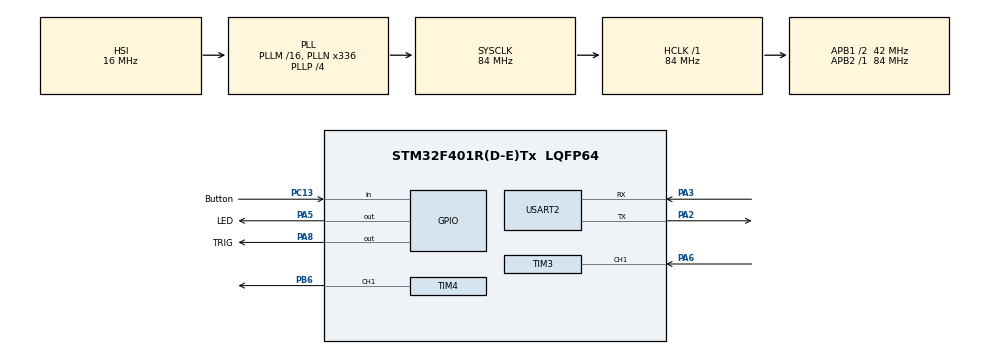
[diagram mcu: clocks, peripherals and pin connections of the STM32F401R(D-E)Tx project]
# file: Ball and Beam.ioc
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Mcu.Family=STM32F4
Mcu.Name=STM32F401R(D-E)Tx
Mcu.Package=LQFP64
NVIC.PriorityGroup=NVIC_PRIORITYGROUP_4
NVIC.TIM3_IRQn=true\:0\:0\:false\:false\:true\:true\:true\:true
PA2.Mode=Asynchronous
PA2.Signal=USART2_TX
PA3.Mode=Asynchronous
PA3.Signal=USART2_RX
PA5.GPIO_Label=LED
PA5.Signal=GPIO_Output
PA6.Signal=S_TIM3_CH1
PA8.GPIO_Label=TRIG
PA8.Signal=GPIO_Output
PB6.Signal=S_TIM4_CH1
PC13-ANTI_TAMP.GPIO_Label=Button
PC13-ANTI_TAMP.Signal=GPIO_Input
ProjectManager.HeapSize=0x200
ProjectManager.StackSize=0x400
ProjectManager.TargetToolchain=STM32CubeIDE
RCC.48MHZClocksFreq_Value=48000000
RCC.AHBFreq_Value=84000000
RCC.APB1CLKDivider=RCC_HCLK_DIV2
RCC.APB1Freq_Value=42000000
RCC.APB1TimFreq_Value=84000000
RCC.APB2Freq_Value=84000000
RCC.APB2TimFreq_Value=84000000
RCC.CortexFreq_Value=84000000
RCC.HCLKFreq_Value=84000000
RCC.HSE_VALUE=8000000
RCC.HSI_VALUE=16000000
RCC.LSE_VALUE=32768
RCC.PLLN=336
RCC.PLLP=RCC_PLLP_DIV4
RCC.PLLQ=7
RCC.SYSCLKFreq_VALUE=84000000
RCC.SYSCLKSource=RCC_SYSCLKSOURCE_PLLCLK
RCC.VCOOutputFreq_Value=336000000
SH.S_TIM3_CH1.0=TIM3_CH1,Input_Capture1_from_TI1
SH.S_TIM4_CH1.0=TIM4_CH1,PWM Generation1 CH1
TIM3.Channel-Input_Capture1_from_TI1=TIM_CHANNEL_1
TIM3.ICFilter_CH1=4
TIM3.ICPolarity_CH1=TIM_INPUTCHANNELPOLARITY_BOTHEDGE
TIM3.Prescaler=84-1
TIM4.Channel-PWM\ Generation1\ CH1=TIM_CHANNEL_1
TIM4.Period=10000-1
TIM4.Prescaler=168-1
USART2.VirtualMode=VM_ASYNC
VP_TIM3_VS_ClockSourceINT.Mode=Internal
VP_TIM4_VS_ClockSourceINT.Mode=Internal
board=NUCLEO-F401RE

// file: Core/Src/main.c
/* USER CODE BEGIN Header */
/**
  ******************************************************************************
  * @file           : main.c
  * @brief          : Main program body
  ******************************************************************************
  * @attention
  *
  * Copyright (c) 2025 STMicroelectronics.
  * All rights reserved.
  *
  * This software is licensed under terms that can be found in the LICENSE file
  * in the root directory of this software component.
  * If no LICENSE file comes with this software, it is provided AS-IS.
  *
  ******************************************************************************
  */
/* USER CODE END Header */
#include "main.h"

/* USER CODE BEGIN Includes */
#include <stdio.h>
#include <stdlib.h>
#include <string.h>
#include <math.h>
#include "distance_buffer.h"

/*
Jorge Larach, September 28 2025
Ball and Beam Project
 */
/* USER CODE END Includes */

TIM_HandleTypeDef htim3;
TIM_HandleTypeDef htim4;

UART_HandleTypeDef huart2;

void SystemClock_Config(void);
static void MX_GPIO_Init(void);
static void MX_USART2_UART_Init(void);
static void MX_TIM3_Init(void);
static void MX_TIM4_Init(void);
/* USER CODE BEGIN PFP */
void HCSR04_TRIG_DWT_init(void);
void HCSR04_TRIG_DWTDelay_us(uint32_t uSec);
void HCSR04_trigger_pulse(void);
uint32_t SERVO_set_angle(uint8_t angle);
uint32_t SERVO_calculate_pulse_width(uint8_t angle);
void UART_print_distance(float distance);
void UART_print_average(void);
uint32_t PID(float measured_distance);
/* USER CODE END PFP */

/* USER CODE BEGIN 0 */

/* HC-SR04 variables and constants */
volatile uint8_t capture_idx = 0;
volatile uint32_t edge_1_time = 0, edge_2_time = 0;
volatile float latest_distance = -1.0f;  // shared between ISR and main
volatile uint8_t distance_ready = 0;     // flag to tell main loop new data is ready
const uint8_t ms_interval = 50; // Interval in ms between sensor readings (never < 50)
const float SPEED_OF_SOUND_CM_US = 0.0343f; // cm per microsecond

/* PID controller variables and constants */
const float Kp = 7.0f;
const float Ki = 0.6f;
const float Kd = 2.0f;
const uint8_t setpoint_cm = 20;
const float dt = (float)ms_interval / 1000.0;   // 50ms update rate = 20Hzs
float prev_error = 0.0f;
float integral = 0.0f;

DBUF distance_buffer;

char uart_buf[100] = {'\0'};

#define TRIG_LOW_US          3
#define TRIG_HIGH_US         10
#define MIN_SERVO_PW         250  // 0.5ms duty cycle, 0 degrees
#define MAX_SERVO_PW         1250 // 2.5s  duty cycle, 180 degrees
#define MIN_ROTATION_DEGREES 0
#define MAX_ROTATION_DEGREES 180  // Max angle a servo can rotate
#define HCSR04_MIN_DIST_CM   3
#define HCSR04_MAX_DIST_CM   34

void HAL_TIM_IC_CaptureCallback(TIM_HandleTypeDef *htim)
{
    if(capture_idx == 0){
        edge_1_time = HAL_TIM_ReadCapturedValue(htim, TIM_CHANNEL_1);
        capture_idx = 1;
    } else {
        edge_2_time = HAL_TIM_ReadCapturedValue(htim, TIM_CHANNEL_1);
        capture_idx = 0;
        uint32_t edge_diff = (edge_2_time >= edge_1_time) ?
                             (edge_2_time - edge_1_time) :
                             ((htim3.Init.Period - edge_1_time) + edge_2_time);

        float distance_cm = ((float)edge_diff) * (SPEED_OF_SOUND_CM_US / 2.0f);
        if(distance_cm > HCSR04_MAX_DIST_CM) distance_cm = HCSR04_MAX_DIST_CM;
        if(distance_cm < HCSR04_MIN_DIST_CM) distance_cm = HCSR04_MIN_DIST_CM;
        latest_distance = distance_cm;

        distance_ready = 1;
    }
}

/* Initialize DWT for microsecond delays */
void HCSR04_TRIG_DWT_init(void){
    CoreDebug->DEMCR |= CoreDebug_DEMCR_TRCENA_Msk;
    DWT->CYCCNT = 0;
    DWT->CTRL |= DWT_CTRL_CYCCNTENA_Msk;
}

/* Microsecond delay using DWT */
void HCSR04_TRIG_DWTDelay_us(uint32_t us) {
    uint32_t cycles = us * (SystemCoreClock / 1000000UL);
    uint32_t start = DWT->CYCCNT;
    while ((DWT->CYCCNT - start) < cycles);
}

void HCSR04_trigger_pulse(void){
    // Trigger pulse
    HAL_GPIO_WritePin(TRIG_GPIO_Port, TRIG_Pin, GPIO_PIN_RESET);
    HCSR04_TRIG_DWTDelay_us(TRIG_LOW_US);
    HAL_GPIO_WritePin(TRIG_GPIO_Port, TRIG_Pin, GPIO_PIN_SET);
    HCSR04_TRIG_DWTDelay_us(TRIG_HIGH_US);
    HAL_GPIO_WritePin(TRIG_GPIO_Port, TRIG_Pin, GPIO_PIN_RESET);
}

uint32_t SERVO_set_angle(uint8_t angle){
	uint32_t pulse_width = SERVO_calculate_pulse_width(angle);
	htim4.Instance->CCR1 = pulse_width;
	return pulse_width;
}

// Prototyping function
uint8_t SERVO_map_distance_to_angle(float prec){
	return (uint8_t)((prec-HCSR04_MIN_DIST_CM)/
		    (HCSR04_MAX_DIST_CM - HCSR04_MIN_DIST_CM)*
			(MAX_ROTATION_DEGREES-MIN_ROTATION_DEGREES))+
			 MIN_ROTATION_DEGREES;
}

uint32_t SERVO_calculate_pulse_width(uint8_t angle){
	return MIN_SERVO_PW + (((MAX_SERVO_PW - MIN_SERVO_PW) * angle)/MAX_ROTATION_DEGREES);
}

/* Helper to send float distance over UART */
void UART_print_distance(float distance) {
    if(distance < 0) snprintf(uart_buf, sizeof(uart_buf), "Distance: ERR\r\n");
    else snprintf(uart_buf, sizeof(uart_buf), "Distance: %.1f cm\r\n", distance);
    HAL_UART_Transmit(&huart2, (uint8_t*)uart_buf, strlen(uart_buf), HAL_MAX_DELAY);
}

void UART_print_average(void) {
	float avg = DBUF_average(&distance_buffer);
    if(avg < 0) snprintf(uart_buf, sizeof(uart_buf), "Average: ERR\r\n");
    else snprintf(uart_buf, sizeof(uart_buf), "Average: %.1f cm\r\n", avg);
    HAL_UART_Transmit(&huart2, (uint8_t*)uart_buf, strlen(uart_buf), HAL_MAX_DELAY);
}

uint32_t PID(float measured_distance){
	float error = measured_distance - setpoint_cm;

	if(error < 0.5 && error > -0.5) error = 0;

    float P = Kp * error;

    integral += error * dt;

    if(integral > 50.0f) integral = 50.0f;
    if(integral < -50.0f) integral = -50.0f;

    float I = Ki * integral;

    float derivative = (error - prev_error) / dt;
    float D = Kd * derivative;

    float output = P + I + D;
    float angle = 90.0f + output;

    prev_error = error;

    if(angle < MIN_ROTATION_DEGREES) angle = MIN_ROTATION_DEGREES;
    if(angle > MAX_ROTATION_DEGREES) angle = MAX_ROTATION_DEGREES;

//    snprintf(uart_buf, sizeof(uart_buf), "%.2f\r\n", measured_distance);
    snprintf(uart_buf, sizeof(uart_buf), "dist: %.2f error: %.2f output: %.2f p: %.2f i: %.2f d: %.2f angle: %.2f \r\n", measured_distance, error, output, P, I, D, angle);
//    snprintf(uart_buf, sizeof(uart_buf), "dist: %.2f error: %.2f output: %.2f angle: %.2f \r\n", measured_distance, error, output, angle);
//    snprintf(uart_buf, sizeof(uart_buf), "error: %.5f output: %.5f angle: %.5f \r\n", error, output, angle);

    HAL_UART_Transmit(&huart2, (uint8_t*)uart_buf, strlen(uart_buf), HAL_MAX_DELAY);
    return (uint32_t)angle;
}

/* USER CODE END 0 */

int main(void)
{

  /* MCU Configuration--------------------------------------------------------*/

  /* Reset of all peripherals, Initializes the Flash interface and the Systick. */
  HAL_Init();

  /* Configure the system clock */
  SystemClock_Config();

  /* Initialize all configured peripherals */
  MX_GPIO_Init();
  MX_USART2_UART_Init();
  MX_TIM3_Init();
  MX_TIM4_Init();
  /* USER CODE BEGIN 2 */
  HAL_TIM_IC_Start_IT(&htim3, TIM_CHANNEL_1); // Input capture on ECHO
  HAL_TIM_PWM_Start(&htim4, TIM_CHANNEL_1);   // PWM for servo
  HCSR04_TRIG_DWT_init();                     // us delay for TRIG pulse
  DBUF_init(&distance_buffer);                // Ring buffer for distance readings

  /* USER CODE END 2 */

  /* Infinite loop */
  /* USER CODE BEGIN WHILE */

  SERVO_set_angle(90);

  uint32_t last_trigger = 0;
  while (1)
  {
    /* USER CODE END WHILE */

    /* USER CODE BEGIN 3 */

	uint32_t now = HAL_GetTick();
	if (now - last_trigger >= ms_interval) {   // 50 ms interval
	    HCSR04_trigger_pulse();       // just sends 10 µs pulse
	    last_trigger = now;
	}

	if (distance_ready) {
	    distance_ready = 0;
	    DBUF_add(&distance_buffer, latest_distance);
	    float current = DBUF_average(&distance_buffer);
	    uint32_t action = PID(current);
	    SERVO_set_angle(action);
	}
  }
  /* USER CODE END 3 */
}

void SystemClock_Config(void)
{
  RCC_OscInitTypeDef RCC_OscInitStruct = {0};
  RCC_ClkInitTypeDef RCC_ClkInitStruct = {0};

  /** Configure the main internal regulator output voltage
  */
  __HAL_RCC_PWR_CLK_ENABLE();
  __HAL_PWR_VOLTAGESCALING_CONFIG(PWR_REGULATOR_VOLTAGE_SCALE2);

  /** Initializes the RCC Oscillators according to the specified parameters
  * in the RCC_OscInitTypeDef structure.
  */
  RCC_OscInitStruct.OscillatorType = RCC_OSCILLATORTYPE_HSI;
  RCC_OscInitStruct.HSIState = RCC_HSI_ON;
  RCC_OscInitStruct.HSICalibrationValue = RCC_HSICALIBRATION_DEFAULT;
  RCC_OscInitStruct.PLL.PLLState = RCC_PLL_ON;
  RCC_OscInitStruct.PLL.PLLSource = RCC_PLLSOURCE_HSI;
  RCC_OscInitStruct.PLL.PLLM = 16;
  RCC_OscInitStruct.PLL.PLLN = 336;
  RCC_OscInitStruct.PLL.PLLP = RCC_PLLP_DIV4;
  RCC_OscInitStruct.PLL.PLLQ = 7;
  if (HAL_RCC_OscConfig(&RCC_OscInitStruct) != HAL_OK)
  {
    Error_Handler();
  }

  /** Initializes the CPU, AHB and APB buses clocks
  */
  RCC_ClkInitStruct.ClockType = RCC_CLOCKTYPE_HCLK|RCC_CLOCKTYPE_SYSCLK
                              |RCC_CLOCKTYPE_PCLK1|RCC_CLOCKTYPE_PCLK2;
  RCC_ClkInitStruct.SYSCLKSource = RCC_SYSCLKSOURCE_PLLCLK;
  RCC_ClkInitStruct.AHBCLKDivider = RCC_SYSCLK_DIV1;
  RCC_ClkInitStruct.APB1CLKDivider = RCC_HCLK_DIV2;
  RCC_ClkInitStruct.APB2CLKDivider = RCC_HCLK_DIV1;

  if (HAL_RCC_ClockConfig(&RCC_ClkInitStruct, FLASH_LATENCY_2) != HAL_OK)
  {
    Error_Handler();
  }
}

static void MX_TIM3_Init(void)
{

  TIM_ClockConfigTypeDef sClockSourceConfig = {0};
  TIM_MasterConfigTypeDef sMasterConfig = {0};
  TIM_IC_InitTypeDef sConfigIC = {0};

  htim3.Instance = TIM3;
  htim3.Init.Prescaler = 84-1;
  htim3.Init.CounterMode = TIM_COUNTERMODE_UP;
  htim3.Init.Period = 65535;
  htim3.Init.ClockDivision = TIM_CLOCKDIVISION_DIV1;
  htim3.Init.AutoReloadPreload = TIM_AUTORELOAD_PRELOAD_DISABLE;
  if (HAL_TIM_Base_Init(&htim3) != HAL_OK)
  {
    Error_Handler();
  }
  sClockSourceConfig.ClockSource = TIM_CLOCKSOURCE_INTERNAL;
  if (HAL_TIM_ConfigClockSource(&htim3, &sClockSourceConfig) != HAL_OK)
  {
    Error_Handler();
  }
  if (HAL_TIM_IC_Init(&htim3) != HAL_OK)
  {
    Error_Handler();
  }
  sMasterConfig.MasterOutputTrigger = TIM_TRGO_RESET;
  sMasterConfig.MasterSlaveMode = TIM_MASTERSLAVEMODE_DISABLE;
  if (HAL_TIMEx_MasterConfigSynchronization(&htim3, &sMasterConfig) != HAL_OK)
  {
    Error_Handler();
  }
  sConfigIC.ICPolarity = TIM_INPUTCHANNELPOLARITY_BOTHEDGE;
  sConfigIC.ICSelection = TIM_ICSELECTION_DIRECTTI;
  sConfigIC.ICPrescaler = TIM_ICPSC_DIV1;
  sConfigIC.ICFilter = 4;
  if (HAL_TIM_IC_ConfigChannel(&htim3, &sConfigIC, TIM_CHANNEL_1) != HAL_OK)
  {
    Error_Handler();
  }

}

static void MX_TIM4_Init(void)
{

  TIM_ClockConfigTypeDef sClockSourceConfig = {0};
  TIM_MasterConfigTypeDef sMasterConfig = {0};
  TIM_OC_InitTypeDef sConfigOC = {0};

  htim4.Instance = TIM4;
  htim4.Init.Prescaler = 168-1;
  htim4.Init.CounterMode = TIM_COUNTERMODE_UP;
  htim4.Init.Period = 10000-1;
  htim4.Init.ClockDivision = TIM_CLOCKDIVISION_DIV1;
  htim4.Init.AutoReloadPreload = TIM_AUTORELOAD_PRELOAD_DISABLE;
  if (HAL_TIM_Base_Init(&htim4) != HAL_OK)
  {
    Error_Handler();
  }
  sClockSourceConfig.ClockSource = TIM_CLOCKSOURCE_INTERNAL;
  if (HAL_TIM_ConfigClockSource(&htim4, &sClockSourceConfig) != HAL_OK)
  {
    Error_Handler();
  }
  if (HAL_TIM_PWM_Init(&htim4) != HAL_OK)
  {
    Error_Handler();
  }
  sMasterConfig.MasterOutputTrigger = TIM_TRGO_RESET;
  sMasterConfig.MasterSlaveMode = TIM_MASTERSLAVEMODE_DISABLE;
  if (HAL_TIMEx_MasterConfigSynchronization(&htim4, &sMasterConfig) != HAL_OK)
  {
    Error_Handler();
  }
  sConfigOC.OCMode = TIM_OCMODE_PWM1;
  sConfigOC.Pulse = 0;
  sConfigOC.OCPolarity = TIM_OCPOLARITY_HIGH;
  sConfigOC.OCFastMode = TIM_OCFAST_DISABLE;
  if (HAL_TIM_PWM_ConfigChannel(&htim4, &sConfigOC, TIM_CHANNEL_1) != HAL_OK)
  {
    Error_Handler();
  }
  HAL_TIM_MspPostInit(&htim4);

}

static void MX_USART2_UART_Init(void)
{

  huart2.Instance = USART2;
  huart2.Init.BaudRate = 115200;
  huart2.Init.WordLength = UART_WORDLENGTH_8B;
  huart2.Init.StopBits = UART_STOPBITS_1;
  huart2.Init.Parity = UART_PARITY_NONE;
  huart2.Init.Mode = UART_MODE_TX_RX;
  huart2.Init.HwFlowCtl = UART_HWCONTROL_NONE;
  huart2.Init.OverSampling = UART_OVERSAMPLING_16;
  if (HAL_UART_Init(&huart2) != HAL_OK)
  {
    Error_Handler();
  }

}

static void MX_GPIO_Init(void)
{
  GPIO_InitTypeDef GPIO_InitStruct = {0};

  /* GPIO Ports Clock Enable */
  __HAL_RCC_GPIOC_CLK_ENABLE();
  __HAL_RCC_GPIOA_CLK_ENABLE();
  __HAL_RCC_GPIOB_CLK_ENABLE();

  /*Configure GPIO pin Output Level */
  HAL_GPIO_WritePin(GPIOA, LED_Pin|TRIG_Pin, GPIO_PIN_RESET);

  /*Configure GPIO pin : Button_Pin */
  GPIO_InitStruct.Pin = Button_Pin;
  GPIO_InitStruct.Mode = GPIO_MODE_INPUT;
  GPIO_InitStruct.Pull = GPIO_NOPULL;
  HAL_GPIO_Init(Button_GPIO_Port, &GPIO_InitStruct);

  /*Configure GPIO pins : LED_Pin TRIG_Pin */
  GPIO_InitStruct.Pin = LED_Pin|TRIG_Pin;
  GPIO_InitStruct.Mode = GPIO_MODE_OUTPUT_PP;
  GPIO_InitStruct.Pull = GPIO_NOPULL;
  GPIO_InitStruct.Speed = GPIO_SPEED_FREQ_LOW;
  HAL_GPIO_Init(GPIOA, &GPIO_InitStruct);

}

void Error_Handler(void)
{
  __disable_irq();
  while (1)
  {
  }
}
